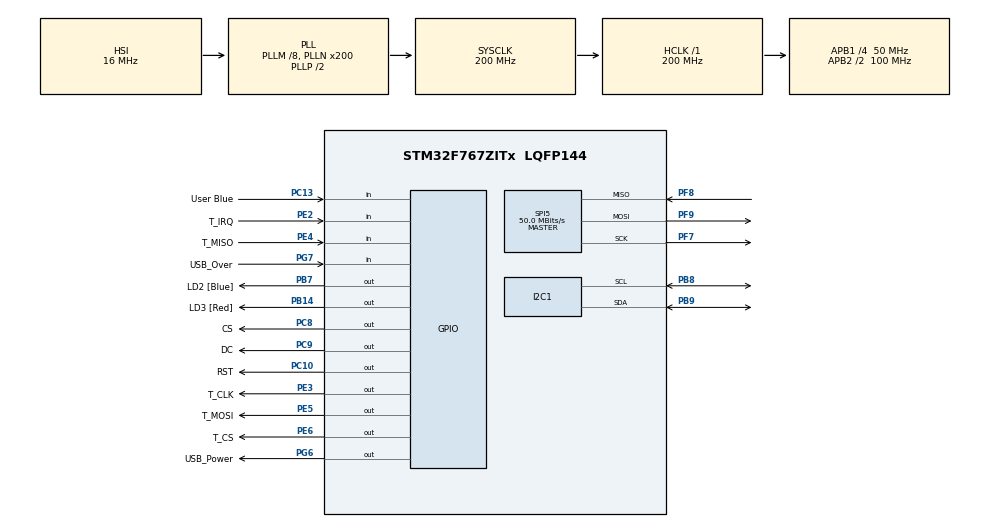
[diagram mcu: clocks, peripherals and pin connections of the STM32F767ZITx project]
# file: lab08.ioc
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CORTEX_M7.ART_ACCELERATOR_ENABLE=1
CORTEX_M7.CPU_DCache=Enabled
CORTEX_M7.CPU_ICache=Enabled
CORTEX_M7.MPU_Control=__NULL
CORTEX_M7.PREFETCH_ENABLE=1
CORTEX_M7.default_mode_Activation=1
I2C1.Timing=0x00C0EAFF
Mcu.Family=STM32F7
Mcu.Name=STM32F767ZITx
Mcu.Package=LQFP144
NVIC.PriorityGroup=NVIC_PRIORITYGROUP_4
PB14.GPIO_Label=LD3 [Red]
PB14.Signal=GPIO_Output
PB7.GPIO_Label=LD2 [Blue]
PB7.Signal=GPIO_Output
PB8.GPIO_Pu=GPIO_PULLUP
PB8.Mode=I2C
PB8.Signal=I2C1_SCL
PB9.GPIO_Pu=GPIO_PULLUP
PB9.Mode=I2C
PB9.Signal=I2C1_SDA
PC10.GPIO_Label=RST
PC10.GPIO_Speed=GPIO_SPEED_FREQ_VERY_HIGH
PC10.Signal=GPIO_Output
PC13.GPIO_Label=User Blue
PC13.Signal=GPIO_Input
PC8.GPIO_Label=CS
PC8.GPIO_Speed=GPIO_SPEED_FREQ_VERY_HIGH
PC8.Signal=GPIO_Output
PC9.GPIO_Label=DC
PC9.GPIO_Speed=GPIO_SPEED_FREQ_VERY_HIGH
PC9.Signal=GPIO_Output
PE2.GPIO_Label=T_IRQ
PE2.Signal=GPIO_Input
PE3.GPIO_Label=T_CLK
PE3.GPIO_Speed=GPIO_SPEED_FREQ_VERY_HIGH
PE3.Signal=GPIO_Output
PE4.GPIO_Label=T_MISO
PE4.Signal=GPIO_Input
PE5.GPIO_Label=T_MOSI
PE5.GPIO_Speed=GPIO_SPEED_FREQ_VERY_HIGH
PE5.Signal=GPIO_Output
PE6.GPIO_Label=T_CS
PE6.GPIO_Speed=GPIO_SPEED_FREQ_VERY_HIGH
PE6.Signal=GPIO_Output
PF7.Mode=Full_Duplex_Master
PF7.Signal=SPI5_SCK
PF8.Mode=Full_Duplex_Master
PF8.Signal=SPI5_MISO
PF9.Mode=Full_Duplex_Master
PF9.Signal=SPI5_MOSI
PG6.GPIO_Label=USB_Power
PG6.Signal=GPIO_Output
PG7.GPIO_Label=USB_Over
PG7.Signal=GPIO_Input
ProjectManager.HeapSize=0x200
ProjectManager.StackSize=0x400
ProjectManager.TargetToolchain=STM32CubeIDE
RCC.AHBFreq_Value=200000000
RCC.APB1CLKDivider=RCC_HCLK_DIV4
RCC.APB1Freq_Value=50000000
RCC.APB1TimFreq_Value=100000000
RCC.APB2CLKDivider=RCC_HCLK_DIV2
RCC.APB2Freq_Value=100000000
RCC.APB2TimFreq_Value=200000000
RCC.CortexFreq_Value=200000000
RCC.HCLKFreq_Value=200000000
RCC.HSE_VALUE=25000000
RCC.HSI_VALUE=16000000
RCC.LSE_VALUE=32768
RCC.PLLM=8
RCC.PLLN=200
RCC.PLLQ=9
RCC.SYSCLKFreq_VALUE=200000000
RCC.SYSCLKSource=RCC_SYSCLKSOURCE_PLLCLK
RCC.USBFreq_Value=44444444.44444445
RCC.VCOOutputFreq_Value=400000000
SPI5.CalculateBaudRate=50.0 MBits/s
SPI5.DataSize=SPI_DATASIZE_8BIT
SPI5.Direction=SPI_DIRECTION_2LINES
SPI5.Mode=SPI_MODE_MASTER
SPI5.NSSPMode=SPI_NSS_PULSE_DISABLE
SPI5.VirtualType=VM_MASTER
TIM1.ClockDivision=TIM_CLOCKDIVISION_DIV2
TIM1.Period=0
TIM1.Prescaler=10000
VP_RNG_VS_RNG.Mode=RNG_Activate
VP_TIM1_VS_ClockSourceINT.Mode=Internal
board=custom

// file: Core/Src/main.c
/* USER CODE BEGIN Header */
/**
  ******************************************************************************
  * @file           : main.c
  * @brief          : Main program body
  ******************************************************************************
  * @attention
  *
  * Copyright (c) 2026 STMicroelectronics.
  * All rights reserved.
  *
  * This software is licensed under terms that can be found in the LICENSE file
  * in the root directory of this software component.
  * If no LICENSE file comes with this software, it is provided AS-IS.
  *
  ******************************************************************************
  */
/* USER CODE END Header */
#include "main.h"
#include "i2c.h"
#include "rng.h"
#include "spi.h"
#include "tim.h"
#include "gpio.h"

/* USER CODE BEGIN Includes */
#include <stdio.h>
#include "ILI9341/ILI9341_STM32_Driver.h"
#include "ILI9341/ILI9341_GFX.h"
#include "ILI9341/ILI9341_Touchscreen.h"
#include "ILI9341/pic.h"
#include "ILI9341/snow_tiger.h"
/* USER CODE END Includes */

/* USER CODE BEGIN PD */
/* Page 1 layout (landscape 320x240, SCREEN_HORIZONTAL_1) */
#define BG_COLOUR       WHITE
#define TEXT_COLOUR     BLACK

#define FONT_H(size)    (8 * (size))    /* CHAR_HEIGHT of 5x5_font.h */
#define TOP_TEXT_SIZE   2               /* 12x16 px per char */
#define TOP_TEXT_Y      28
#define TEMP_X          8
#define HUMID_X         188
#define MIX_X           150
#define MIX_Y           40
#define MIX_R           26

#define ROW_Y0          105             /* centre Y of the R/G/B rows */
#define ROW_PITCH       55
#define DOT_X           30
#define DOT_R           20
#define BAR_X           60
#define BAR_W           140
#define BAR_H           30
#define PCT_X           222
#define PCT_TEXT_SIZE   3

#define TOUCH_MARGIN    10              /* extra px around a dot that still counts as a hit */
#define STEP_PERCENT    10

#define AM2320_ADDR     (0x5C << 1)
#define AM2320_PERIOD   3000            /* ms, sensor needs > 2 s between reads */

/* light tints used for the empty part of each bar */
#define LIGHT_RED       0xFE38
#define LIGHT_GREEN     0xBFF7
#define LIGHT_BLUE      0xC63F
/* USER CODE END PD */

/* USER CODE BEGIN PV */
typedef enum { CH_RED = 0, CH_GREEN, CH_BLUE, CH_COUNT } Channel;

static const uint16_t channel_colour[CH_COUNT] = { RED, GREEN, BLUE };
static const uint16_t channel_light[CH_COUNT]  = { LIGHT_RED, LIGHT_GREEN, LIGHT_BLUE };

static uint8_t rgb_percent[CH_COUNT] = { 0, 0, 0 };

/* latest AM2320 reading: t in degC, h in %RH */
static float t = 0.0f;
static float h = 0.0f;

/* AM2320: function 0x03 (read registers), start at 0x00, read 4 bytes */
static uint8_t cmdBuffer[3] = { 0x03, 0x00, 0x04 };
static uint8_t dataBuffer[8];
/* USER CODE END PV */

void SystemClock_Config(void);
/* USER CODE BEGIN PFP */
static void Page1_Init(void);
static void Page1_DrawSensor(void);
static void Page1_DrawMix(void);
static void Page1_DrawChannel(Channel ch);
static void Page1_HandleTouch(uint16_t x, uint16_t y);
static void Page1_DisplayPhoto(void);
uint16_t CRC16_2(uint8_t *ptr, uint8_t length);
/* USER CODE END PFP */

/* USER CODE BEGIN 0 */
static uint16_t Row_Y(Channel ch)
{
  return ROW_Y0 + ch * ROW_PITCH;
}

/* Formats v with one decimal without needing printf float support */
static void Format_1dp(char *buf, size_t len, float v, const char *unit)
{
  int x10 = (int)(v * 10.0f + (v >= 0 ? 0.5f : -0.5f));
  const char *sign = (x10 < 0) ? "-" : "";
  if (x10 < 0) x10 = -x10;
  snprintf(buf, len, "%s%d.%d%s", sign, x10 / 10, x10 % 10, unit);
}

/* Mix the three channels (0-100 %) into one RGB565 colour */
static uint16_t Mix_Colour(void)
{
  uint16_t r = rgb_percent[CH_RED]   * 31 / 100;
  uint16_t g = rgb_percent[CH_GREEN] * 63 / 100;
  uint16_t b = rgb_percent[CH_BLUE]  * 31 / 100;
  return (r << 11) | (g << 5) | b;
}

static void Page1_DrawSensor(void)
{
  char buf[16];

  Format_1dp(buf, sizeof(buf), t, " C ");
  ILI9341_Draw_Text(buf, TEMP_X, TOP_TEXT_Y, TEXT_COLOUR, TOP_TEXT_SIZE, BG_COLOUR);

  Format_1dp(buf, sizeof(buf), h, "%RH");
  ILI9341_Draw_Text(buf, HUMID_X, TOP_TEXT_Y, TEXT_COLOUR, TOP_TEXT_SIZE, BG_COLOUR);
}

static void Page1_DrawMix(void)
{
  ILI9341_Draw_Filled_Circle(MIX_X, MIX_Y, MIX_R, Mix_Colour());
  /* outline so the circle is still visible when the mix is white */
  ILI9341_Draw_Hollow_Circle(MIX_X, MIX_Y, MIX_R + 1, LIGHTGREY);
}

static void Page1_DrawChannel(Channel ch)
{
  char buf[8];
  uint16_t y = Row_Y(ch);
  uint16_t bar_top = y - BAR_H / 2;
  uint16_t fill_w = rgb_percent[ch] * BAR_W / 100;

  if (fill_w > 0)
    ILI9341_Draw_Rectangle(BAR_X, bar_top, fill_w, BAR_H, channel_colour[ch]);
  if (fill_w < BAR_W)
    ILI9341_Draw_Rectangle(BAR_X + fill_w, bar_top, BAR_W - fill_w, BAR_H, channel_light[ch]);

  snprintf(buf, sizeof(buf), "%3d %%", rgb_percent[ch]);
  ILI9341_Draw_Text(buf, PCT_X, y - FONT_H(PCT_TEXT_SIZE) / 2,
                    TEXT_COLOUR, PCT_TEXT_SIZE, BG_COLOUR);
}

static void Page1_Init(void)
{
  ILI9341_Fill_Screen(BG_COLOUR);

  Page1_DrawSensor();
  Page1_DrawMix();

  for (Channel ch = CH_RED; ch < CH_COUNT; ch++)
  {
    ILI9341_Draw_Filled_Circle(DOT_X, Row_Y(ch), DOT_R, channel_colour[ch]);
    Page1_DrawChannel(ch);
  }
}

static void Page1_HandleTouch(uint16_t x, uint16_t y)
{
  int32_t hit_r = DOT_R + TOUCH_MARGIN;

  for (Channel ch = CH_RED; ch < CH_COUNT; ch++)
  {
    int32_t dx = (int32_t)x - DOT_X;
    int32_t dy = (int32_t)y - Row_Y(ch);
    if (dx * dx + dy * dy <= hit_r * hit_r)
    {
      rgb_percent[ch] += STEP_PERCENT;
      if (rgb_percent[ch] > 100)
        rgb_percent[ch] = 0;

      Page1_DrawChannel(ch);
      Page1_DrawMix();
      return;
    }
  }

  /* tap the mix circle to show a photo for 5 s, then restore page 1 as-is */
  int32_t mix_hit_r = MIX_R + TOUCH_MARGIN;
  int32_t mdx = (int32_t)x - MIX_X;
  int32_t mdy = (int32_t)y - MIX_Y;
  if (mdx * mdx + mdy * mdy <= mix_hit_r * mix_hit_r)
  {
	ILI9341_Fill_Screen(BG_COLOUR);
    Page1_DisplayPhoto();

    /* leave after 5 s, or as soon as the screen is tapped again. The finger
       that opened the photo has to come up first, or it dismisses it at once. */
    uint32_t start = HAL_GetTick();
    uint8_t released = 0;

    while (HAL_GetTick() - start < 5000)
    {
      if (!TP_Touchpad_Pressed())
        released = 1;
      else if (released)
        break;
    }

    Page1_Init();
  }
}

void ILI9341_Draw_Custom_Image(uint16_t X, uint16_t Y, uint16_t Width, uint16_t Height, const char* Image_Array) {
        // 1. ตรวจสอบไม่ให้ขนาดเกินขอบจอ (ตามการหมุนจอปัจจุบัน)
        if((X >= LCD_WIDTH) || (Y >= LCD_HEIGHT)) return;
        if((X + Width - 1) >= LCD_WIDTH) Width = LCD_WIDTH - X;
        if((Y + Height - 1) >= LCD_HEIGHT) Height = LCD_HEIGHT - Y;

        // 2. ล็อกขอบเขตหน้าต่างบนหน้าจอที่จะพ่นสีลงไป
        ILI9341_Set_Address(X, Y, X + Width - 1, Y + Height - 1);

        // 3. พ่นข้อมูลสีจาก Array เข้าจอผ่าน SPI ทีละไบต์
        uint32_t total_bytes = (uint32_t)Width * Height * 2;
        for(uint32_t i = 0; i < total_bytes; i++) {
            ILI9341_Write_Data((uint8_t)Image_Array[i]);
        }
    }

static void Page1_DisplayPhoto(void)
{
  uint16_t x = (320 - SCREENSHOT_2025_01_12_131834_WIDTH) / 2;
  uint16_t y = (240 - SCREENSHOT_2025_01_12_131834_HEIGHT) / 2;

  ILI9341_Draw_Custom_Image(x-80, y,
                            SCREENSHOT_2025_01_12_131834_WIDTH,
                            SCREENSHOT_2025_01_12_131834_HEIGHT,
                            (const char *)Screenshot_2025_01_12_131834);

  uint16_t mix = Mix_Colour();

  ILI9341_Draw_Text("Group No.19", 172, 60,  mix, 2, WHITE);
  ILI9341_Draw_Text("Nutthakorn",  172, 90,  mix, 2, WHITE);
  ILI9341_Draw_Text("Thongsamrit", 172, 120, mix, 2, WHITE);
  ILI9341_Draw_Text("67010280",    172, 150, mix, 2, WHITE);
}

/* Read the AM2320 into t and h. Returns 1 if the CRC matched. */
static uint8_t AM2320_Read(void)
{
  //Wake up sensor (it NACKs this one while asleep, that is expected)
  HAL_I2C_Master_Transmit(&hi2c1, AM2320_ADDR, cmdBuffer, 3, 200);
  //Send reading command
  HAL_I2C_Master_Transmit(&hi2c1, AM2320_ADDR, cmdBuffer, 3, 200);

  HAL_Delay(1);

  //Receive sensor data
  HAL_I2C_Master_Receive(&hi2c1, AM2320_ADDR, dataBuffer, 8, 200);

  uint16_t Rcrc = dataBuffer[7] << 8;
  Rcrc += dataBuffer[6];
  if (Rcrc != CRC16_2(dataBuffer, 6))
    return 0;

  uint16_t temperature = ((dataBuffer[4] & 0x7F) << 8) + dataBuffer[5];
  t = temperature / 10.0;
  t = (((dataBuffer[4] & 0x80) >> 7) == 1) ? (t * (-1)) : t; // the temperature can be negative

  uint16_t humidity = (dataBuffer[2] << 8) + dataBuffer[3];
  h = humidity / 10.0;
  return 1;
}

/* The touch library is calibrated for SCREEN_VERTICAL_1 (240x320).
   Convert its result into SCREEN_HORIZONTAL_1 (320x240) coordinates. */
static uint8_t Touch_Read_Landscape(uint16_t *x, uint16_t *y)
{
  uint16_t pos[2];
  if (TP_Read_Coordinates(pos) != TOUCHPAD_DATA_OK)
    return 0;

  uint16_t tx = (pos[0] > 239) ? 239 : pos[0];
  uint16_t ty = (pos[1] > 319) ? 319 : pos[1];

  *x = ty;
  *y = 239 - tx;
  return 1;
}
/* USER CODE END 0 */

int main(void)
{

  /* Enable the CPU Cache */

  /* Enable I-Cache---------------------------------------------------------*/
  SCB_EnableICache();

  /* Enable D-Cache---------------------------------------------------------*/
  SCB_EnableDCache();

  /* MCU Configuration--------------------------------------------------------*/

  /* Reset of all peripherals, Initializes the Flash interface and the Systick. */
  HAL_Init();

  /* Configure the system clock */
  SystemClock_Config();

  /* Initialize all configured peripherals */
  MX_GPIO_Init();
  MX_RNG_Init();
  MX_SPI5_Init();
  MX_TIM1_Init();
  MX_I2C1_Init();
  /* USER CODE BEGIN 2 */
  ILI9341_Init();
  ILI9341_Set_Rotation(SCREEN_HORIZONTAL_1);
  Page1_Init();

  uint8_t touch_held = 0;
  uint32_t last_sensor_tick = HAL_GetTick();
  /* USER CODE END 2 */

  /* Infinite loop */
  /* USER CODE BEGIN WHILE */
  while (1)
  {
    /* read the AM2320 every AM2320_PERIOD ms without blocking the touch */
    if (HAL_GetTick() - last_sensor_tick >= AM2320_PERIOD)
    {
      last_sensor_tick = HAL_GetTick();
      if (AM2320_Read())
        Page1_DrawSensor();
    }

    /* one +10 % step per press: act on the press edge, wait for release */
    if (TP_Touchpad_Pressed())
    {
      uint16_t x, y;

      if (!touch_held && Touch_Read_Landscape(&x, &y))
      {
    	  char s[20];
    	  snprintf(s,sizeof(s),"X=%d Y=%d",x,y);

        touch_held = 1;
        Page1_HandleTouch(x, y);

      }
    }
    else
    {
      touch_held = 0;
    }

    HAL_Delay(20);
    /* USER CODE END WHILE */

  }
}

void SystemClock_Config(void)
{
  RCC_OscInitTypeDef RCC_OscInitStruct = {0};
  RCC_ClkInitTypeDef RCC_ClkInitStruct = {0};

  /** Configure the main internal regulator output voltage
  */
  __HAL_RCC_PWR_CLK_ENABLE();
  __HAL_PWR_VOLTAGESCALING_CONFIG(PWR_REGULATOR_VOLTAGE_SCALE1);

  /** Initializes the RCC Oscillators according to the specified parameters
  * in the RCC_OscInitTypeDef structure.
  */
  RCC_OscInitStruct.OscillatorType = RCC_OSCILLATORTYPE_HSI;
  RCC_OscInitStruct.HSIState = RCC_HSI_ON;
  RCC_OscInitStruct.HSICalibrationValue = RCC_HSICALIBRATION_DEFAULT;
  RCC_OscInitStruct.PLL.PLLState = RCC_PLL_ON;
  RCC_OscInitStruct.PLL.PLLSource = RCC_PLLSOURCE_HSI;
  RCC_OscInitStruct.PLL.PLLM = 8;
  RCC_OscInitStruct.PLL.PLLN = 200;
  RCC_OscInitStruct.PLL.PLLP = RCC_PLLP_DIV2;
  RCC_OscInitStruct.PLL.PLLQ = 9;
  RCC_OscInitStruct.PLL.PLLR = 2;
  if (HAL_RCC_OscConfig(&RCC_OscInitStruct) != HAL_OK)
  {
    Error_Handler();
  }

  /** Activate the Over-Drive mode
  */
  if (HAL_PWREx_EnableOverDrive() != HAL_OK)
  {
    Error_Handler();
  }

  /** Initializes the CPU, AHB and APB buses clocks
  */
  RCC_ClkInitStruct.ClockType = RCC_CLOCKTYPE_HCLK|RCC_CLOCKTYPE_SYSCLK
                              |RCC_CLOCKTYPE_PCLK1|RCC_CLOCKTYPE_PCLK2;
  RCC_ClkInitStruct.SYSCLKSource = RCC_SYSCLKSOURCE_PLLCLK;
  RCC_ClkInitStruct.AHBCLKDivider = RCC_SYSCLK_DIV1;
  RCC_ClkInitStruct.APB1CLKDivider = RCC_HCLK_DIV4;
  RCC_ClkInitStruct.APB2CLKDivider = RCC_HCLK_DIV2;

  if (HAL_RCC_ClockConfig(&RCC_ClkInitStruct, FLASH_LATENCY_6) != HAL_OK)
  {
    Error_Handler();
  }
}

/* USER CODE BEGIN 4 */
uint16_t CRC16_2(uint8_t *ptr, uint8_t length)
{
      uint16_t  crc = 0xFFFF;
      uint8_t   s   = 0x00;

      while(length--) {
        crc ^= *ptr++;
        for(s = 0; s < 8; s++) {
          if((crc & 0x01) != 0) {
            crc >>= 1;
            crc ^= 0xA001;
          } else crc >>= 1;
        }
      }
      return crc;
}
/* USER CODE END 4 */

void Error_Handler(void)
{
  __disable_irq();
  while (1)
  {
  }
}
